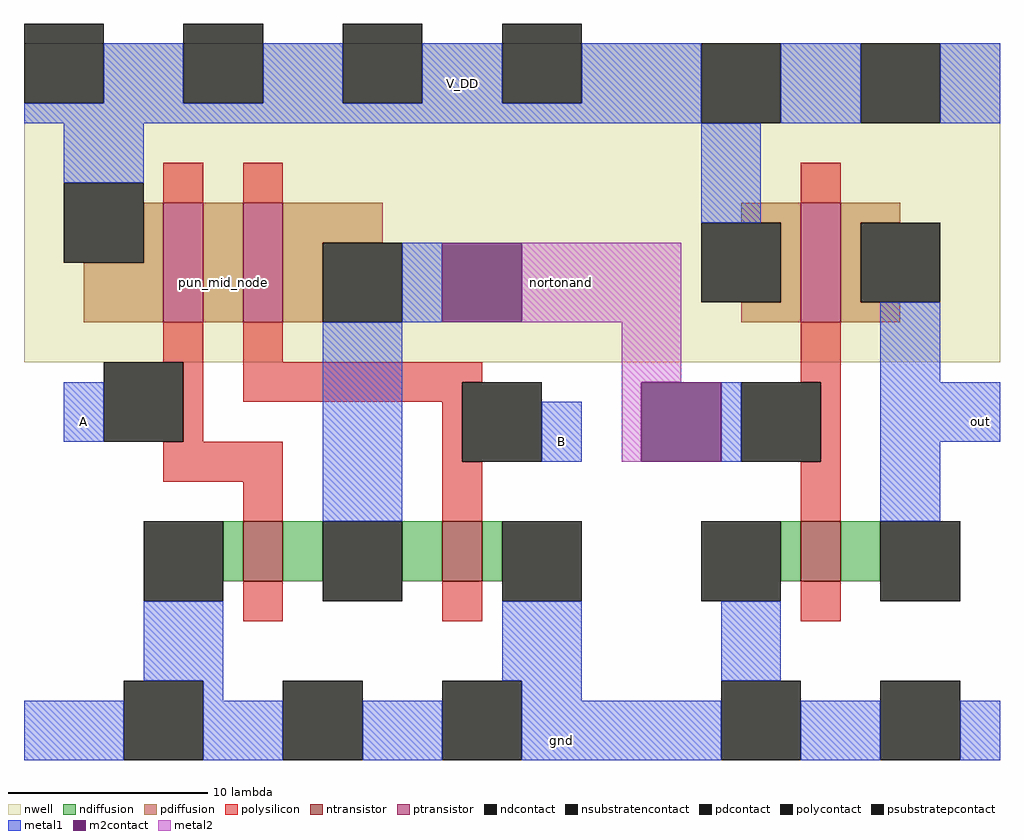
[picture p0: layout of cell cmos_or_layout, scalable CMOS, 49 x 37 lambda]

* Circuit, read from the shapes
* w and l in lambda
.subckt cmos_or_layout A B V_DD gnd nortonand out pun_mid_node
M1 nortonand A gnd gnd nfet w=3 l=2
M2 gnd B nortonand gnd nfet w=3 l=2
M3 out nortonand gnd gnd nfet w=3 l=2
M4 pun_mid_node A V_DD V_DD pfet w=6 l=2
M5 nortonand B pun_mid_node V_DD pfet w=6 l=2
M6 out nortonand V_DD V_DD pfet w=6 l=2
.ends

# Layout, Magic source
magic
tech scmos
<< nwell >>
rect 8 26 57 42
<< polysilicon >>
rect 15 34 17 36
rect 19 34 21 36
rect 47 34 49 36
rect 15 26 17 28
rect 16 22 17 26
rect 19 26 21 28
rect 19 25 31 26
rect 47 25 49 28
rect 19 24 30 25
rect 15 20 21 22
rect 19 18 21 20
rect 29 21 30 24
rect 48 21 49 25
rect 29 18 31 21
rect 47 18 49 21
rect 19 13 21 15
rect 29 13 31 15
rect 47 13 49 15
<< ndiffusion >>
rect 18 15 19 18
rect 21 15 23 18
rect 27 15 29 18
rect 31 15 32 18
rect 46 15 47 18
rect 49 15 51 18
<< pdiffusion >>
rect 14 31 15 34
rect 11 28 15 31
rect 17 28 19 34
rect 21 32 26 34
rect 44 33 47 34
rect 21 28 23 32
rect 46 29 47 33
rect 44 28 47 29
rect 49 33 52 34
rect 49 29 50 33
rect 49 28 52 29
<< metal1 >>
rect 12 39 16 42
rect 20 39 24 42
rect 28 39 32 42
rect 36 39 42 42
rect 8 38 42 39
rect 46 38 50 42
rect 54 38 57 42
rect 10 35 14 38
rect 42 33 45 38
rect 27 28 29 32
rect 10 22 12 25
rect 23 18 27 28
rect 51 25 54 29
rect 34 21 36 24
rect 43 21 44 25
rect 51 22 57 25
rect 51 18 54 22
rect 14 10 18 14
rect 32 10 36 14
rect 8 6 13 9
rect 17 9 18 10
rect 17 6 21 9
rect 25 6 29 9
rect 33 9 36 10
rect 43 10 46 14
rect 33 6 43 9
rect 47 6 51 9
rect 55 6 57 9
<< metal2 >>
rect 33 28 41 32
rect 38 25 41 28
rect 38 21 39 25
<< ntransistor >>
rect 19 15 21 18
rect 29 15 31 18
rect 47 15 49 18
<< ptransistor >>
rect 15 28 17 34
rect 19 28 21 34
rect 47 28 49 34
<< polycontact >>
rect 12 22 16 26
rect 30 21 34 25
rect 44 21 48 25
<< ndcontact >>
rect 14 14 18 18
rect 23 14 27 18
rect 32 14 36 18
rect 42 14 46 18
rect 51 14 55 18
<< pdcontact >>
rect 10 31 14 35
rect 23 28 27 32
rect 42 29 46 33
rect 50 29 54 33
<< m2contact >>
rect 29 28 33 32
rect 39 21 43 25
<< psubstratepcontact >>
rect 13 6 17 10
rect 21 6 25 10
rect 29 6 33 10
rect 43 6 47 10
rect 51 6 55 10
<< nsubstratencontact >>
rect 8 39 12 43
rect 16 39 20 43
rect 24 39 28 43
rect 32 39 36 43
rect 42 38 46 42
rect 50 38 54 42
<< labels >>
rlabel metal1 30 40 30 40 5 V_DD
rlabel metal1 35 7 35 7 1 gnd
rlabel metal1 56 23 56 23 7 out
rlabel metal1 35 22 35 22 1 B
rlabel metal1 11 23 11 23 3 A
rlabel metal2 35 30 35 30 1 nortonand
rlabel pdiffusion 18 30 18 30 1 pun_mid_node
<< end >>
